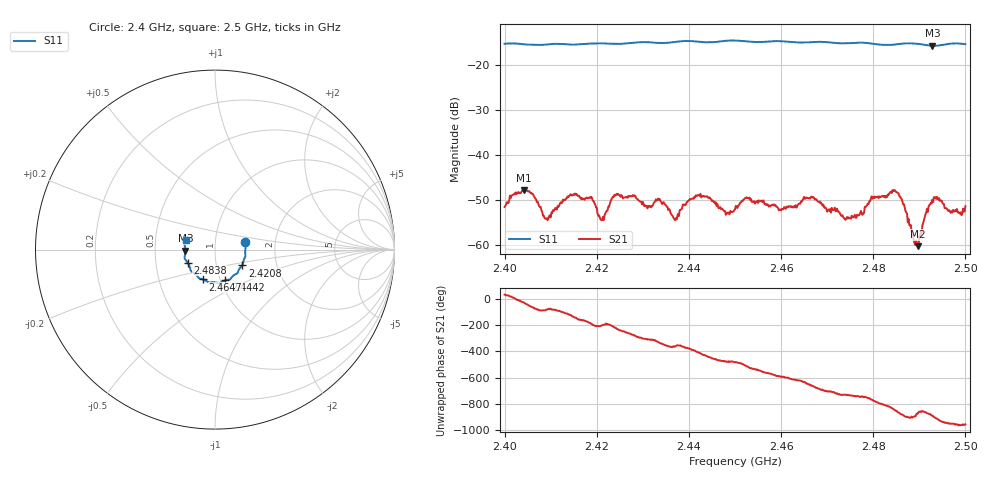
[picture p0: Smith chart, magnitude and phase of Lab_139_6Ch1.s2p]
# Hz S RI R 50
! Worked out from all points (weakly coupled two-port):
!   601 points, 2.4 GHz to 2.5 GHz, reference 50 ohm
!   highest |S21| = -47.75 dB at 2.4042 GHz (marker M1); lowest = -60.2 dB at 2.4897 GHz (marker M2)
!   lowest |S11| = -15.6 dB at 2.4928 GHz (marker M3), VSWR 1.40, Z = 35.8 - j0.407 ohm
!   |S11| at or under -10 dB: start of sweep to end of sweep
!   S12 and S22 are empty: the file has one direction only
!   S11 on the Smith chart (normalised r, x): 2.4 GHz: 1.40, +0.12; 2.4208 GHz: 1.33, -0.24; 2.4442 GHz: 1.05, -0.37; 2.4647 GHz: 0.83, -0.29; 2.4838 GHz: 0.73, -0.11; 2.5 GHz: 0.71, +0.08
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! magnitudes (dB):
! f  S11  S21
! 2.4 GHz  -15.2  -51.5
! 2.4042 GHz  -15.3  -47.7
! 2.409 GHz  -15.4  -54.1
! 2.4167 GHz  -15.3  -49.8
! 2.4188 GHz  -15.1  -49.3
! 2.4208 GHz  -15.1  -54.3
! 2.4243 GHz  -15.2  -48.6
! 2.4333 GHz  -15.0  -49.6
! 2.437 GHz  -14.8  -54.5
! 2.4442 GHz  -14.9  -49.4
! 2.45 GHz  -14.5  -52.1
! 2.4527 GHz  -14.7  -49.5
! 2.46 GHz  -14.6  -52.3
! 2.4647 GHz  -14.9  -50.0
! 2.4667 GHz  -14.8  -49.2
! 2.4743 GHz  -15.1  -53.8
! 2.4833 GHz  -15.5  -48.8
! 2.4838 GHz  -15.5  -48.1
! 2.4858 GHz  -15.2  -49.2
! 2.4897 GHz  -15.2  -60.2
! 2.4928 GHz  -15.6  -49.9
! 2.5 GHz  -15.3  -51.3
